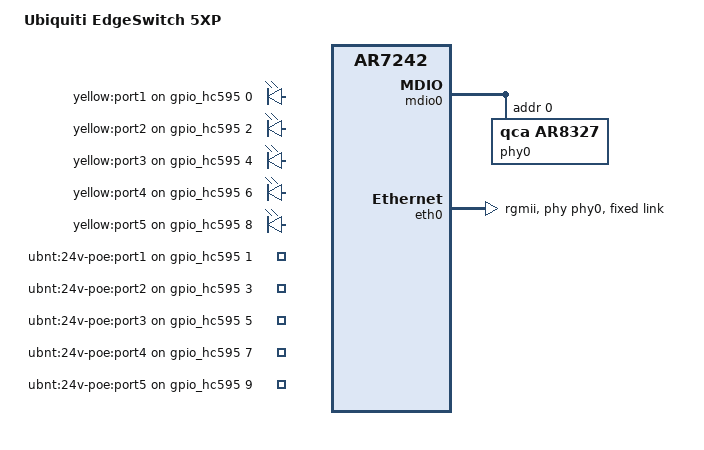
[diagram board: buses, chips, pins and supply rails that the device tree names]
// SPDX-License-Identifier: GPL-2.0-or-later OR MIT

#include "ar7242_ubnt_sw.dtsi"

/ {
	compatible = "ubnt,edgeswitch-5xp", "qca,ar7242";
	model = "Ubiquiti EdgeSwitch 5XP";

	leds {
		/* LED color is unknown, <color> needs to be replaced */
		port1 {
			label = "yellow:port1";
			gpios = <&gpio_hc595 0 GPIO_ACTIVE_HIGH>;
		};
		port2 {
			label = "yellow:port2";
			gpios = <&gpio_hc595 2 GPIO_ACTIVE_HIGH>;
		};
		port3 {
			label = "yellow:port3";
			gpios = <&gpio_hc595 4 GPIO_ACTIVE_HIGH>;
		};
		port4 {
			label = "yellow:port4";
			gpios = <&gpio_hc595 6 GPIO_ACTIVE_HIGH>;
		};
		port5 {
			label = "yellow:port5";
			gpios = <&gpio_hc595 8 GPIO_ACTIVE_HIGH>;
		};
	};

	gpio-export {
		compatible = "gpio-export";

		poe_24v_port1 {
			gpio-export,name = "ubnt:24v-poe:port1";
			gpio-export,output = <0>;
			gpios = <&gpio_hc595 1 GPIO_ACTIVE_HIGH>;
		};

		poe_24v_port2 {
			gpio-export,name = "ubnt:24v-poe:port2";
			gpio-export,output = <0>;
			gpios = <&gpio_hc595 3 GPIO_ACTIVE_HIGH>;
		};

		poe_24v_port3 {
			gpio-export,name = "ubnt:24v-poe:port3";
			gpio-export,output = <0>;
			gpios = <&gpio_hc595 5 GPIO_ACTIVE_HIGH>;
		};

		poe_24v_port4 {
			gpio-export,name = "ubnt:24v-poe:port4";
			gpio-export,output = <0>;
			gpios = <&gpio_hc595 7 GPIO_ACTIVE_HIGH>;
		};

		poe_24v_port5 {
			gpio-export,name = "ubnt:24v-poe:port5";
			gpio-export,output = <0>;
			gpios = <&gpio_hc595 9 GPIO_ACTIVE_HIGH>;
		};
	};
};

&mdio0 {
	status = "okay";

	phy0: ethernet-switch@0 {
		compatible = "qca,ar8327";
		reg = <0x0>;

		qca,ar8327-initvals = <
			0x04 0x05100000 /* PORT0 PAD MODE CTRL */
			0x0c 0x05100000 /* PORT6 PAD MODE CTRL */
			0x50 0xCC35CC35 /* LED_CTRL0 */
			0x54 0xCA35CA35 /* LED_CTRL1 */
			0x58 0xC935C935 /* LED_CTRL2 */
			0x5c 0x03ffff00 /* LED_CTRL3 */
			0x7c 0x0000007e /* PORT0_STATUS */
			0x94 0x0000007e /* PORT6_STATUS */
		>;
	};
};

&eth0 {
	status = "okay";

	phy-handle = <&phy0>;
	phy-mode = "rgmii";

	nvmem-cells = <&macaddr_art_0>;
	nvmem-cell-names = "mac-address";

	fixed-link {
		speed = <1000>;
		full-duplex;
	};
};

&art {
	compatible = "nvmem-cells";
	#address-cells = <1>;
	#size-cells = <1>;

	macaddr_art_0: macaddr@0 {
		reg = <0x0 0x6>;
	};
};
